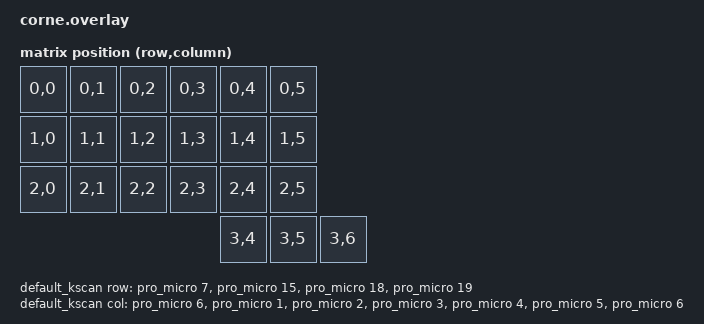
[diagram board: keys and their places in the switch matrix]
#include <dt-bindings/zmk/matrix-transform.h>

/ {
    chosen {
        zmk,kscan = &default_kscan;
        zmk,matrix-transform = &default_transform;
    };
// ROWS and COLUMNS as wired on the left hand.
// Row1 = D7, ROW3 = D15, ROW2 = D18, ROW1 = D19
// Col1 = d6, COl2 = d1, COL3 = d2, COL4 = d3, COL5 = d4, COL6 = d5, COL7 = D6
    default_kscan: kscan {
        compatible = "zmk,kscan-gpio-matrix";
        label = "default_kscan";
        diode-direction = "col2row";

        row-gpios = <&pro_micro 7 (GPIO_ACTIVE_HIGH|GPIO_PULL_DOWN)>,
                    <&pro_micro 15 (GPIO_ACTIVE_HIGH|GPIO_PULL_DOWN)>,
                    <&pro_micro 18 (GPIO_ACTIVE_HIGH|GPIO_PULL_DOWN)>,
                    <&pro_micro 19 (GPIO_ACTIVE_HIGH|GPIO_PULL_DOWN)>;

        col-gpios = <&pro_micro 6 GPIO_ACTIVE_HIGH>,
                    <&pro_micro 1 GPIO_ACTIVE_HIGH>,
                    <&pro_micro 2 GPIO_ACTIVE_HIGH>,
                    <&pro_micro 3 GPIO_ACTIVE_HIGH>,
                    <&pro_micro 4 GPIO_ACTIVE_HIGH>,
                    <&pro_micro 5 GPIO_ACTIVE_HIGH>,
                    <&pro_micro 6 GPIO_ACTIVE_HIGH>;
    };

    default_transform: matrix-transform {
        compatible = "zmk,matrix-transform";
        rows = <4>;
        columns = <7>;

        map = <
            // COL1 COL2    COL3    COL4    COL5    COL6    COL7    
            RC(0,0) RC(0,1) RC(0,2) RC(0,3) RC(0,4) RC(0,5)
            RC(1,0) RC(1,1) RC(1,2) RC(1,3) RC(1,4) RC(1,5)
            RC(2,0) RC(2,1) RC(2,2) RC(2,3) RC(2,4) RC(2,5)
                                            RC(3,4) RC(3,5) RC(3,6)

        >;
    };
};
